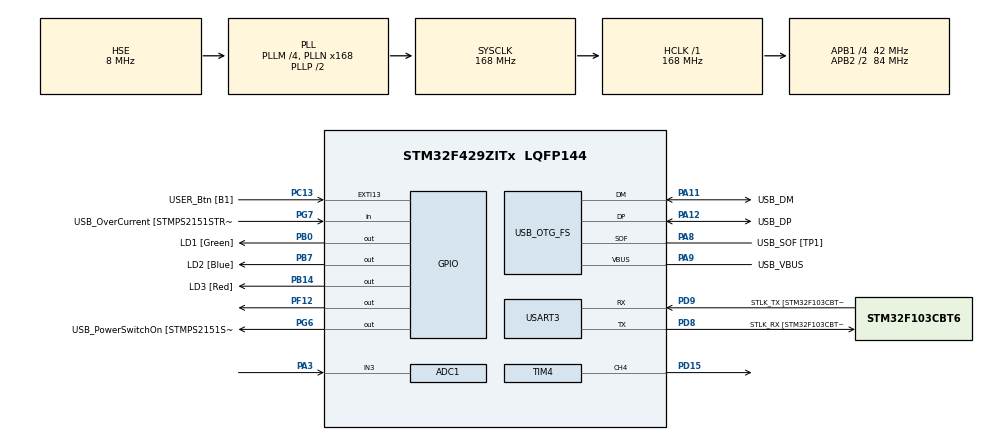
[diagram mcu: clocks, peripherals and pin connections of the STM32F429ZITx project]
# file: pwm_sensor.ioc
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ADC1.Channel-0\#ChannelRegularConversion=ADC_CHANNEL_3
ADC1.NbrOfConversionFlag=1
ADC1.Rank-0\#ChannelRegularConversion=1
ADC1.SamplingTime-0\#ChannelRegularConversion=ADC_SAMPLETIME_3CYCLES
ADC1.master=1
Mcu.Family=STM32F4
Mcu.Name=STM32F429ZITx
Mcu.Package=LQFP144
NVIC.PriorityGroup=NVIC_PRIORITYGROUP_4
PA1.GPIO_Label=RMII_REF_CLK [LAN8742A-CZ-TR_REFCLK0]
PA1.Signal=ETH_REF_CLK
PA10.GPIO_Label=USB_ID
PA10.Signal=USB_OTG_FS_ID
PA11.GPIO_Label=USB_DM
PA11.Mode=Device_Only
PA11.Signal=USB_OTG_FS_DM
PA12.GPIO_Label=USB_DP
PA12.Mode=Device_Only
PA12.Signal=USB_OTG_FS_DP
PA13.GPIO_Label=TMS
PA13.Mode=Serial_Wire
PA13.Signal=SYS_JTMS-SWDIO
PA14.GPIO_Label=TCK
PA14.Mode=Serial_Wire
PA14.Signal=SYS_JTCK-SWCLK
PA2.GPIO_Label=RMII_MDIO [LAN8742A-CZ-TR_MDIO]
PA2.Signal=ETH_MDIO
PA3.Signal=ADCx_IN3
PA7.GPIO_Label=RMII_CRS_DV [LAN8742A-CZ-TR_CRS_DV]
PA7.Signal=ETH_CRS_DV
PA8.GPIO_Label=USB_SOF [TP1]
PA8.Mode=Activate_SOF_FS
PA8.Signal=USB_OTG_FS_SOF
PA9.GPIO_Label=USB_VBUS
PA9.Mode=Activate_VBUS
PA9.Signal=USB_OTG_FS_VBUS
PB0.GPIO_Label=LD1 [Green]
PB0.Signal=GPIO_Output
PB13.GPIO_Label=RMII_TXD1 [LAN8742A-CZ-TR_TXD1]
PB13.Signal=ETH_TXD1
PB14.GPIO_Label=LD3 [Red]
PB14.Signal=GPIO_Output
PB7.GPIO_Label=LD2 [Blue]
PB7.Signal=GPIO_Output
PC1.GPIO_Label=RMII_MDC [LAN8742A-CZ-TR_MDC]
PC1.Signal=ETH_MDC
PC13.GPIO_Label=USER_Btn [B1]
PC13.Signal=GPXTI13
PC14/OSC32_IN.Mode=LSE-External-Oscillator
PC14/OSC32_IN.Signal=RCC_OSC32_IN
PC15/OSC32_OUT.Mode=LSE-External-Oscillator
PC15/OSC32_OUT.Signal=RCC_OSC32_OUT
PC4.GPIO_Label=RMII_RXD0 [LAN8742A-CZ-TR_RXD0]
PC4.Signal=ETH_RXD0
PC5.GPIO_Label=RMII_RXD1 [LAN8742A-CZ-TR_RXD1]
PC5.Signal=ETH_RXD1
PD15.Signal=S_TIM4_CH4
PD8.GPIO_Label=STLK_RX [STM32F103CBT6_PA3]
PD8.Mode=Asynchronous
PD8.Signal=USART3_TX
PD9.GPIO_Label=STLK_TX [STM32F103CBT6_PA2]
PD9.Mode=Asynchronous
PD9.Signal=USART3_RX
PF12.Signal=GPIO_Output
PG11.GPIO_Label=RMII_TX_EN [LAN8742A-CZ-TR_TXEN]
PG11.Signal=ETH_TX_EN
PG13.GPIO_Label=RMII_TXD0 [LAN8742A-CZ-TR_TXD0]
PG13.Signal=ETH_TXD0
PG6.GPIO_Label=USB_PowerSwitchOn [STMPS2151STR_EN]
PG6.Signal=GPIO_Output
PG7.GPIO_Label=USB_OverCurrent [STMPS2151STR_FAULT]
PG7.Signal=GPIO_Input
PH0/OSC_IN.GPIO_Label=MCO [STM32F103CBT6_PA8]
PH0/OSC_IN.Mode=HSE-External-Clock-Source
PH0/OSC_IN.Signal=RCC_OSC_IN
PH1/OSC_OUT.Mode=HSE-External-Clock-Source
PH1/OSC_OUT.Signal=RCC_OSC_OUT
ProjectManager.HeapSize=0x200
ProjectManager.StackSize=0x400
ProjectManager.TargetToolchain=STM32CubeIDE
RCC.48MHZClocksFreq_Value=48000000
RCC.AHBFreq_Value=168000000
RCC.APB1CLKDivider=RCC_HCLK_DIV4
RCC.APB1Freq_Value=42000000
RCC.APB1TimFreq_Value=84000000
RCC.APB2CLKDivider=RCC_HCLK_DIV2
RCC.APB2Freq_Value=84000000
RCC.APB2TimCLKDivider=2
RCC.APB2TimFreq_Value=168000000
RCC.CortexFreq_Value=168000000
RCC.HCLKFreq_Value=168000000
RCC.HSE_VALUE=8000000
RCC.HSI_VALUE=16000000
RCC.PLLM=4
RCC.PLLMUL=RCC_PLL_MUL9
RCC.PLLN=168
RCC.PLLQ=7
RCC.PRESCALERUSB=RCC_USBCLKSOURCE_PLL_DIV1_5
RCC.SYSCLKFreq_VALUE=168000000
RCC.SYSCLKSource=RCC_SYSCLKSOURCE_PLLCLK
RCC.SYSCLKSourceVirtual=RCC_SYSCLKSOURCE_PLLCLK
RCC.USBFreq_Value=48000000
RCC.VCOOutputFreq_Value=336000000
SH.ADCx_IN3.0=ADC1_IN3,IN3
SH.S_TIM4_CH4.0=TIM4_CH4,PWM Generation4 CH4
TIM4.Channel-PWM\ Generation4\ CH4=TIM_CHANNEL_4
TIM4.Period=1000-1
TIM4.Prescaler=1680-1
USART3.VirtualMode=VM_ASYNC
USB_OTG_FS.VirtualMode=Device_Only
board=NUCLEO-F429ZI

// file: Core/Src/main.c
/* USER CODE BEGIN Header */
/**
  ******************************************************************************
  * @file           : main.c
  * @brief          : Main program body
  ******************************************************************************
  * @attention
  *
  * Copyright (c) 2023 STMicroelectronics.
  * All rights reserved.
  *
  * This software is licensed under terms that can be found in the LICENSE file
  * in the root directory of this software component.
  * If no LICENSE file comes with this software, it is provided AS-IS.
  *
  ******************************************************************************
  */
/* USER CODE END Header */
#include "main.h"

ADC_HandleTypeDef hadc1;

TIM_HandleTypeDef htim4;

UART_HandleTypeDef huart3;

PCD_HandleTypeDef hpcd_USB_OTG_FS;

void SystemClock_Config(void);
static void MX_GPIO_Init(void);
static void MX_USART3_UART_Init(void);
static void MX_USB_OTG_FS_PCD_Init(void);
static void MX_ADC1_Init(void);
static void MX_TIM4_Init(void);

/* USER CODE BEGIN 0 */
void push()
{
	char uart_buf[100];
	uint32_t adc;
	HAL_ADC_Start(&hadc1);
	HAL_ADC_PollForConversion(&hadc1, 10);
	adc = HAL_ADC_GetValue(&hadc1);
	memset(uart_buf,0,sizeof(uart_buf));

	sprintf(uart_buf,"%d\r\n", adc);
	HAL_UART_Transmit(&huart3,uart_buf,sizeof(uart_buf),0xFFFF);
	HAL_Delay(1000);

	if(adc<3300){
		GPIOF->ODR = 0x0000;
       motor();
	}
	else
	{
		GPIOF->ODR = 0x1000;
	}
}

	void motor()
	{
	HAL_TIM_PWM_Start(&htim4,TIM_CHANNEL_4);

	__HAL_TIM_SetCompare(&htim4, TIM_CHANNEL_4,120);
	HAL_Delay(1000);
	__HAL_TIM_SetCompare(&htim4, TIM_CHANNEL_4,30);
	HAL_Delay(1000);
	}

/* USER CODE END 0 */

int main(void)
{

  /* MCU Configuration--------------------------------------------------------*/

  /* Reset of all peripherals, Initializes the Flash interface and the Systick. */
  HAL_Init();

  /* Configure the system clock */
  SystemClock_Config();

  /* Initialize all configured peripherals */
  MX_GPIO_Init();
  MX_USART3_UART_Init();
  MX_USB_OTG_FS_PCD_Init();
  MX_ADC1_Init();
  MX_TIM4_Init();

  /* Infinite loop */
  while (1)
  {
push();
  }
}

void SystemClock_Config(void)
{
  RCC_OscInitTypeDef RCC_OscInitStruct = {0};
  RCC_ClkInitTypeDef RCC_ClkInitStruct = {0};

  /** Configure the main internal regulator output voltage
  */
  __HAL_RCC_PWR_CLK_ENABLE();
  __HAL_PWR_VOLTAGESCALING_CONFIG(PWR_REGULATOR_VOLTAGE_SCALE1);

  /** Initializes the RCC Oscillators according to the specified parameters
  * in the RCC_OscInitTypeDef structure.
  */
  RCC_OscInitStruct.OscillatorType = RCC_OSCILLATORTYPE_HSE;
  RCC_OscInitStruct.HSEState = RCC_HSE_BYPASS;
  RCC_OscInitStruct.PLL.PLLState = RCC_PLL_ON;
  RCC_OscInitStruct.PLL.PLLSource = RCC_PLLSOURCE_HSE;
  RCC_OscInitStruct.PLL.PLLM = 4;
  RCC_OscInitStruct.PLL.PLLN = 168;
  RCC_OscInitStruct.PLL.PLLP = RCC_PLLP_DIV2;
  RCC_OscInitStruct.PLL.PLLQ = 7;
  if (HAL_RCC_OscConfig(&RCC_OscInitStruct) != HAL_OK)
  {
    Error_Handler();
  }

  /** Initializes the CPU, AHB and APB buses clocks
  */
  RCC_ClkInitStruct.ClockType = RCC_CLOCKTYPE_HCLK|RCC_CLOCKTYPE_SYSCLK
                              |RCC_CLOCKTYPE_PCLK1|RCC_CLOCKTYPE_PCLK2;
  RCC_ClkInitStruct.SYSCLKSource = RCC_SYSCLKSOURCE_PLLCLK;
  RCC_ClkInitStruct.AHBCLKDivider = RCC_SYSCLK_DIV1;
  RCC_ClkInitStruct.APB1CLKDivider = RCC_HCLK_DIV4;
  RCC_ClkInitStruct.APB2CLKDivider = RCC_HCLK_DIV2;

  if (HAL_RCC_ClockConfig(&RCC_ClkInitStruct, FLASH_LATENCY_5) != HAL_OK)
  {
    Error_Handler();
  }
}

static void MX_ADC1_Init(void)
{

  ADC_ChannelConfTypeDef sConfig = {0};

  /** Configure the global features of the ADC (Clock, Resolution, Data Alignment and number of conversion)
  */
  hadc1.Instance = ADC1;
  hadc1.Init.ClockPrescaler = ADC_CLOCK_SYNC_PCLK_DIV4;
  hadc1.Init.Resolution = ADC_RESOLUTION_12B;
  hadc1.Init.ScanConvMode = DISABLE;
  hadc1.Init.ContinuousConvMode = DISABLE;
  hadc1.Init.DiscontinuousConvMode = DISABLE;
  hadc1.Init.ExternalTrigConvEdge = ADC_EXTERNALTRIGCONVEDGE_NONE;
  hadc1.Init.ExternalTrigConv = ADC_SOFTWARE_START;
  hadc1.Init.DataAlign = ADC_DATAALIGN_RIGHT;
  hadc1.Init.NbrOfConversion = 1;
  hadc1.Init.DMAContinuousRequests = DISABLE;
  hadc1.Init.EOCSelection = ADC_EOC_SINGLE_CONV;
  if (HAL_ADC_Init(&hadc1) != HAL_OK)
  {
    Error_Handler();
  }

  /** Configure for the selected ADC regular channel its corresponding rank in the sequencer and its sample time.
  */
  sConfig.Channel = ADC_CHANNEL_3;
  sConfig.Rank = 1;
  sConfig.SamplingTime = ADC_SAMPLETIME_3CYCLES;
  if (HAL_ADC_ConfigChannel(&hadc1, &sConfig) != HAL_OK)
  {
    Error_Handler();
  }

}

static void MX_TIM4_Init(void)
{

  TIM_MasterConfigTypeDef sMasterConfig = {0};
  TIM_OC_InitTypeDef sConfigOC = {0};

  htim4.Instance = TIM4;
  htim4.Init.Prescaler = 1680-1;
  htim4.Init.CounterMode = TIM_COUNTERMODE_UP;
  htim4.Init.Period = 1000-1;
  htim4.Init.ClockDivision = TIM_CLOCKDIVISION_DIV1;
  htim4.Init.AutoReloadPreload = TIM_AUTORELOAD_PRELOAD_DISABLE;
  if (HAL_TIM_PWM_Init(&htim4) != HAL_OK)
  {
    Error_Handler();
  }
  sMasterConfig.MasterOutputTrigger = TIM_TRGO_RESET;
  sMasterConfig.MasterSlaveMode = TIM_MASTERSLAVEMODE_DISABLE;
  if (HAL_TIMEx_MasterConfigSynchronization(&htim4, &sMasterConfig) != HAL_OK)
  {
    Error_Handler();
  }
  sConfigOC.OCMode = TIM_OCMODE_PWM1;
  sConfigOC.Pulse = 0;
  sConfigOC.OCPolarity = TIM_OCPOLARITY_HIGH;
  sConfigOC.OCFastMode = TIM_OCFAST_DISABLE;
  if (HAL_TIM_PWM_ConfigChannel(&htim4, &sConfigOC, TIM_CHANNEL_4) != HAL_OK)
  {
    Error_Handler();
  }
  HAL_TIM_MspPostInit(&htim4);

}

static void MX_USART3_UART_Init(void)
{

  huart3.Instance = USART3;
  huart3.Init.BaudRate = 115200;
  huart3.Init.WordLength = UART_WORDLENGTH_8B;
  huart3.Init.StopBits = UART_STOPBITS_1;
  huart3.Init.Parity = UART_PARITY_NONE;
  huart3.Init.Mode = UART_MODE_TX_RX;
  huart3.Init.HwFlowCtl = UART_HWCONTROL_NONE;
  huart3.Init.OverSampling = UART_OVERSAMPLING_16;
  if (HAL_UART_Init(&huart3) != HAL_OK)
  {
    Error_Handler();
  }

}

static void MX_USB_OTG_FS_PCD_Init(void)
{

  hpcd_USB_OTG_FS.Instance = USB_OTG_FS;
  hpcd_USB_OTG_FS.Init.dev_endpoints = 4;
  hpcd_USB_OTG_FS.Init.speed = PCD_SPEED_FULL;
  hpcd_USB_OTG_FS.Init.dma_enable = DISABLE;
  hpcd_USB_OTG_FS.Init.phy_itface = PCD_PHY_EMBEDDED;
  hpcd_USB_OTG_FS.Init.Sof_enable = ENABLE;
  hpcd_USB_OTG_FS.Init.low_power_enable = DISABLE;
  hpcd_USB_OTG_FS.Init.lpm_enable = DISABLE;
  hpcd_USB_OTG_FS.Init.vbus_sensing_enable = ENABLE;
  hpcd_USB_OTG_FS.Init.use_dedicated_ep1 = DISABLE;
  if (HAL_PCD_Init(&hpcd_USB_OTG_FS) != HAL_OK)
  {
    Error_Handler();
  }

}

static void MX_GPIO_Init(void)
{
  GPIO_InitTypeDef GPIO_InitStruct = {0};

  /* GPIO Ports Clock Enable */
  __HAL_RCC_GPIOC_CLK_ENABLE();
  __HAL_RCC_GPIOH_CLK_ENABLE();
  __HAL_RCC_GPIOA_CLK_ENABLE();
  __HAL_RCC_GPIOB_CLK_ENABLE();
  __HAL_RCC_GPIOF_CLK_ENABLE();
  __HAL_RCC_GPIOD_CLK_ENABLE();
  __HAL_RCC_GPIOG_CLK_ENABLE();

  /*Configure GPIO pin Output Level */
  HAL_GPIO_WritePin(GPIOB, LD1_Pin|LD3_Pin|LD2_Pin, GPIO_PIN_RESET);

  /*Configure GPIO pin Output Level */
  HAL_GPIO_WritePin(GPIOF, GPIO_PIN_12, GPIO_PIN_RESET);

  /*Configure GPIO pin Output Level */
  HAL_GPIO_WritePin(USB_PowerSwitchOn_GPIO_Port, USB_PowerSwitchOn_Pin, GPIO_PIN_RESET);

  /*Configure GPIO pin : USER_Btn_Pin */
  GPIO_InitStruct.Pin = USER_Btn_Pin;
  GPIO_InitStruct.Mode = GPIO_MODE_IT_RISING;
  GPIO_InitStruct.Pull = GPIO_NOPULL;
  HAL_GPIO_Init(USER_Btn_GPIO_Port, &GPIO_InitStruct);

  /*Configure GPIO pins : RMII_MDC_Pin RMII_RXD0_Pin RMII_RXD1_Pin */
  GPIO_InitStruct.Pin = RMII_MDC_Pin|RMII_RXD0_Pin|RMII_RXD1_Pin;
  GPIO_InitStruct.Mode = GPIO_MODE_AF_PP;
  GPIO_InitStruct.Pull = GPIO_NOPULL;
  GPIO_InitStruct.Speed = GPIO_SPEED_FREQ_VERY_HIGH;
  GPIO_InitStruct.Alternate = GPIO_AF11_ETH;
  HAL_GPIO_Init(GPIOC, &GPIO_InitStruct);

  /*Configure GPIO pins : RMII_REF_CLK_Pin RMII_MDIO_Pin RMII_CRS_DV_Pin */
  GPIO_InitStruct.Pin = RMII_REF_CLK_Pin|RMII_MDIO_Pin|RMII_CRS_DV_Pin;
  GPIO_InitStruct.Mode = GPIO_MODE_AF_PP;
  GPIO_InitStruct.Pull = GPIO_NOPULL;
  GPIO_InitStruct.Speed = GPIO_SPEED_FREQ_VERY_HIGH;
  GPIO_InitStruct.Alternate = GPIO_AF11_ETH;
  HAL_GPIO_Init(GPIOA, &GPIO_InitStruct);

  /*Configure GPIO pins : LD1_Pin LD3_Pin LD2_Pin */
  GPIO_InitStruct.Pin = LD1_Pin|LD3_Pin|LD2_Pin;
  GPIO_InitStruct.Mode = GPIO_MODE_OUTPUT_PP;
  GPIO_InitStruct.Pull = GPIO_NOPULL;
  GPIO_InitStruct.Speed = GPIO_SPEED_FREQ_LOW;
  HAL_GPIO_Init(GPIOB, &GPIO_InitStruct);

  /*Configure GPIO pin : PF12 */
  GPIO_InitStruct.Pin = GPIO_PIN_12;
  GPIO_InitStruct.Mode = GPIO_MODE_OUTPUT_PP;
  GPIO_InitStruct.Pull = GPIO_NOPULL;
  GPIO_InitStruct.Speed = GPIO_SPEED_FREQ_LOW;
  HAL_GPIO_Init(GPIOF, &GPIO_InitStruct);

  /*Configure GPIO pin : RMII_TXD1_Pin */
  GPIO_InitStruct.Pin = RMII_TXD1_Pin;
  GPIO_InitStruct.Mode = GPIO_MODE_AF_PP;
  GPIO_InitStruct.Pull = GPIO_NOPULL;
  GPIO_InitStruct.Speed = GPIO_SPEED_FREQ_VERY_HIGH;
  GPIO_InitStruct.Alternate = GPIO_AF11_ETH;
  HAL_GPIO_Init(RMII_TXD1_GPIO_Port, &GPIO_InitStruct);

  /*Configure GPIO pin : USB_PowerSwitchOn_Pin */
  GPIO_InitStruct.Pin = USB_PowerSwitchOn_Pin;
  GPIO_InitStruct.Mode = GPIO_MODE_OUTPUT_PP;
  GPIO_InitStruct.Pull = GPIO_NOPULL;
  GPIO_InitStruct.Speed = GPIO_SPEED_FREQ_LOW;
  HAL_GPIO_Init(USB_PowerSwitchOn_GPIO_Port, &GPIO_InitStruct);

  /*Configure GPIO pin : USB_OverCurrent_Pin */
  GPIO_InitStruct.Pin = USB_OverCurrent_Pin;
  GPIO_InitStruct.Mode = GPIO_MODE_INPUT;
  GPIO_InitStruct.Pull = GPIO_NOPULL;
  HAL_GPIO_Init(USB_OverCurrent_GPIO_Port, &GPIO_InitStruct);

  /*Configure GPIO pins : RMII_TX_EN_Pin RMII_TXD0_Pin */
  GPIO_InitStruct.Pin = RMII_TX_EN_Pin|RMII_TXD0_Pin;
  GPIO_InitStruct.Mode = GPIO_MODE_AF_PP;
  GPIO_InitStruct.Pull = GPIO_NOPULL;
  GPIO_InitStruct.Speed = GPIO_SPEED_FREQ_VERY_HIGH;
  GPIO_InitStruct.Alternate = GPIO_AF11_ETH;
  HAL_GPIO_Init(GPIOG, &GPIO_InitStruct);

}

void Error_Handler(void)
{
  __disable_irq();
  while (1)
  {
  }
}
